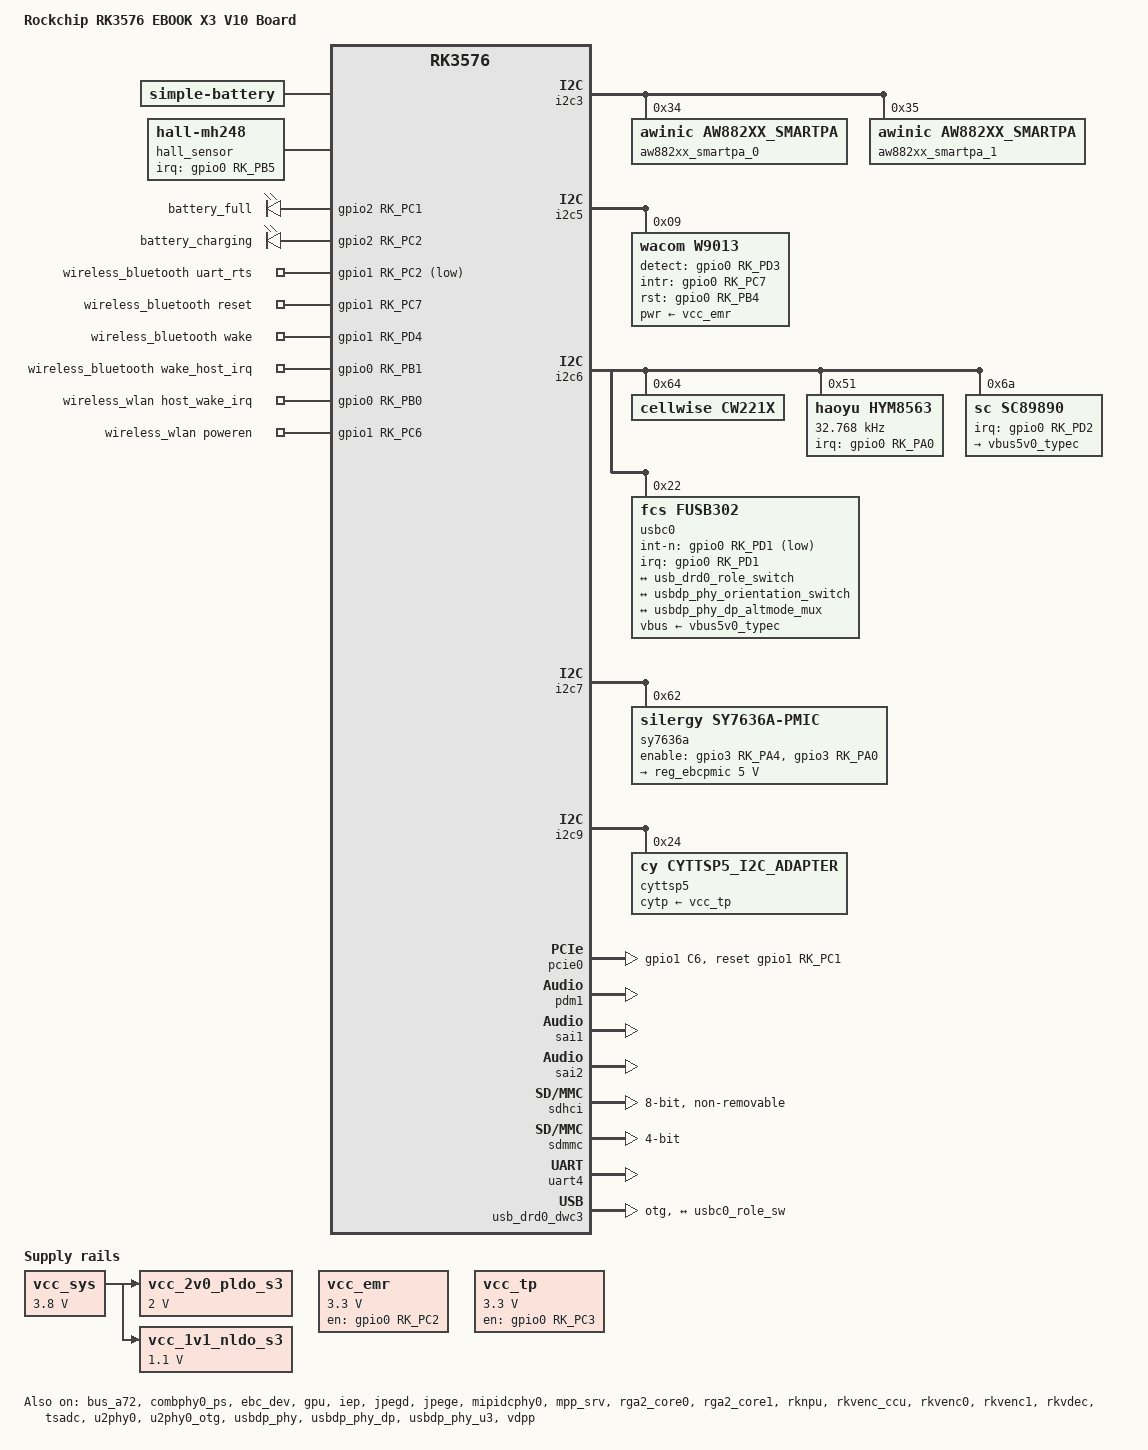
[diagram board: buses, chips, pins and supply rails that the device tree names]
// SPDX-License-Identifier: (GPL-2.0+ OR MIT)
/*
 * Copyright (c) 2024 Rockchip Electronics Co., Ltd.
 *
 */

/dts-v1/;

#include <dt-bindings/display/drm_mipi_dsi.h>
#include <dt-bindings/display/rockchip_vop.h>
#include <dt-bindings/gpio/gpio.h>
#include <dt-bindings/input/rk-input.h>
#include <dt-bindings/pinctrl/rockchip.h>
#include <dt-bindings/pwm/pwm.h>
#include <dt-bindings/sensor-dev.h>
#include <dt-bindings/usb/pd.h>
#include "rk3576.dtsi"
#include "rk3576-android.dtsi"
#include "rk3576-eink.dtsi"

/ {
	model = "Rockchip RK3576 EBOOK X3 V10 Board";
	compatible = "rockchip,rk3576-ebook-x3-v10", "rockchip,rk3576";

	aw882xx_sound: aw882xx-sound {
		status = "okay";
		compatible = "rockchip,multicodecs-card";
		rockchip,card-name = "rockchip,aw882xx";
		rockchip,mclk-fs = <256>;
		rockchip,cpu = <&sai1>;
		rockchip,codec = <&aw882xx_smartpa_0>, <&aw882xx_smartpa_1>;
	};

	bat: battery {
		compatible = "simple-battery";
		//charge-full-design-microamp-hours = <9800000>;
		charge-full-design-microamp-hours = <4200000>;
		precharge-current-microamp = <100000>;
		precharge-upper-limit-microvolt = <3600000>;
		charge-term-current-microamp = <100000>;
		constant-charge-current-max-microamp = <4000000>;/* 4A */
		constant-charge-voltage-max-microvolt = <4350000>;
		factory-internal-resistance-micro-ohms = <30>;
		voltage-max-design-microvolt = <4350000>;
		voltage-min-design-microvolt = <3000000>;
	};

	bt_sco: bt-sco {
		status = "okay";
		compatible = "delta,dfbmcs320";
		#sound-dai-cells = <1>;
	};

	bt_sound: bt-sound {
		status = "okay";
		compatible = "simple-audio-card";
		simple-audio-card,format = "dsp_a";
		simple-audio-card,bitclock-inversion;
		simple-audio-card,mclk-fs = <256>;
		simple-audio-card,name = "rockchip,bt";
		simple-audio-card,cpu {
			sound-dai = <&sai2>;
		};
		simple-audio-card,codec {
			sound-dai = <&bt_sco 1>;
		};
	};

	charge-animation {
		compatible = "rockchip,uboot-charge";
		rockchip,uboot-charge-on = <1>;
		rockchip,android-charge-on = <0>;
		rockchip,uboot-low-power-voltage = <3450>;
		rockchip,screen-on-voltage = <3500>;
		rockchip,uboot-exit-charge-level = <2>;
		rockchip,uboot-exit-charge-voltage = <3500>;
		rockchip,uboot-exit-charge-auto = <1>;
		status = "okay";
	};

	charger-manager {
		compatible = "rockchip-charger-manager";
		cm-name = "battery";
		cm-poll-mode = <2>;
		cm-poll-interval = <5000>;
		cm-cp-support-mult-mode = <1>;
		//cm-chargers = "sgm4154x-charger";
		cm-chargers = "sc89890-charger";
		cm-chargers-phandle = <&usbc0>;
		cm-fuel-gauge = "cw221X-bat";
		monitored-battery = <&bat>;
		extcon = <&u2phy0>;
		cm-jeita-temp-charge-table = <0 15 420000 4350000>,
			<15 45 4000000 4400000>,
			<45 60 1400000 4200000>;
	};

	hall_sensor: hall-mh248 {
		compatible = "hall-mh248";
		pinctrl-names = "default";
		pinctrl-0 = <&mh248_irq_gpio>;
		irq-gpio = <&gpio0 RK_PB5 IRQ_TYPE_EDGE_BOTH>;
		hall-active = <1>;
		status = "okay";

		//for ebook ultra sleep config
		pmu-gpio-regs-base = <0x27320000>; //gpio0 base
		pmu-gpio-regs-size = <0x200>; //gpio0 register size
		pmu-gpio-int-reg = <0x50>; //gpio int status register
		pmu-gpio-rtc-int-mask = <0x01>; //GPIO0_A0, rtc int
		pmu-gpio-pmic-int-mask = <0x40>; //GPIO0_A6, pmic int
	};

	leds: gpio-leds {
		compatible = "gpio-leds";
		pinctrl-names = "default";
		pinctrl-0 =<&leds_gpio>;

		led@1 {
			gpios = <&gpio2 RK_PC1 GPIO_ACTIVE_HIGH>;
			linux,default-trigger = "cw221X-bat-full";
			label = "battery_full";
			retain-state-suspended;
			default-state = "on";
		};

		led@2 {
			gpios = <&gpio2 RK_PC2 GPIO_ACTIVE_HIGH>;
			linux,default-trigger = "cw221X-bat-charging";
			label = "battery_charging";
			retain-state-suspended;
			default-state = "off";
		};
	};

	pdm_codec: dummy-codec {
		status = "okay";
		compatible = "rockchip,dummy-codec";
		#sound-dai-cells = <0>;
	};

	pdm_mic_array: pdm-mic-array {
		status = "okay";
		compatible = "simple-audio-card";
		simple-audio-card,name = "rockchip,pdm-mic-array";
		simple-audio-card,cpu {
			sound-dai = <&pdm1>;
		};
		simple-audio-card,codec {
			sound-dai = <&pdm_codec>;
		};
	};

	vcc_sys: vcc-sys {
		compatible = "regulator-fixed";
		regulator-name = "vcc_sys";
		regulator-always-on;
		regulator-boot-on;
		regulator-min-microvolt = <3800000>;
		regulator-max-microvolt = <3800000>;
	};

	vcc_2v0_pldo_s3: vcc-2v0-pldo-s3 {
		compatible = "regulator-fixed";
		regulator-name = "vcc_2v0_pldo_s3";
		regulator-boot-on;
		regulator-always-on;
		regulator-min-microvolt = <2000000>;
		regulator-max-microvolt = <2000000>;
		vin-supply = <&vcc_sys>;
	};

	vcc_1v1_nldo_s3: vcc-1v1-nldo-s3 {
		compatible = "regulator-fixed";
		regulator-name = "vcc_1v1_nldo_s3";
		regulator-boot-on;
		regulator-always-on;
		regulator-min-microvolt = <1100000>;
		regulator-max-microvolt = <1100000>;
		vin-supply = <&vcc_sys>;
	};

	vcc_emr: vcc-emr {
		compatible = "regulator-fixed";
		enable-active-high;
		gpio = <&gpio0 RK_PC2 GPIO_ACTIVE_HIGH>;
		pinctrl-names = "default";
		pinctrl-0 = <&vcc_emr_en>;
		regulator-name = "vcc_emr";
		regulator-boot-on;
		startup-delay-us = <10000>;
		regulator-min-microvolt = <3300000>;
		regulator-max-microvolt = <3300000>;
	};

	vcc_tp: vcc-tp {
		compatible = "regulator-fixed";
		enable-active-high;
		gpio = <&gpio0 RK_PC3 GPIO_ACTIVE_HIGH>;
		pinctrl-names = "default";
		pinctrl-0 = <&vcc_tp_en>;
		regulator-name = "vcc_tp";
		regulator-boot-on;
		startup-delay-us = <10000>;
		regulator-min-microvolt = <3300000>;
		regulator-max-microvolt = <3300000>;
	};

	wireless_bluetooth: wireless-bluetooth {
		compatible = "bluetooth-platdata";
		bt_port = "/dev/ttyS4";
		clocks = <&hym8563>;
		clock-names = "ext_clock";
		uart_rts_gpios = <&gpio1 RK_PC2 GPIO_ACTIVE_LOW>;
		pinctrl-names = "default", "rts_gpio";
		pinctrl-0 = <&uart4m1_rtsn>;
		pinctrl-1 = <&uart4_gpios>;
		BT,reset_gpio    = <&gpio1 RK_PC7 GPIO_ACTIVE_HIGH>;
		BT,wake_gpio     = <&gpio1 RK_PD4 GPIO_ACTIVE_HIGH>;
		BT,wake_host_irq = <&gpio0 RK_PB1 GPIO_ACTIVE_HIGH>;
		status = "okay";
	};

	wireless_wlan: wireless-wlan {
		compatible = "wlan-platdata";
		wifi_chip_type = "ap6275p";
		pinctrl-names = "default";
		pinctrl-0 = <&wifi_host_wake_irq>;
		WIFI,host_wake_irq = <&gpio0 RK_PB0 GPIO_ACTIVE_HIGH>;
		WIFI,poweren_gpio = <&gpio1 RK_PC6 GPIO_ACTIVE_HIGH>;
		status = "okay";
	};
};

&bus_a72 {
	bus-supply = <&vdd_logic_s0>;
	pvtm-supply = <&vdd_logic_s0>;
	status = "okay";
};

&combphy0_ps {
	status = "okay";
};

&cpu_l0 {
	cpu-supply = <&vdd_cpu_lit_s0>;
};

&cpu_b0 {
	cpu-supply = <&vdd_cpu_big_s0>;
};

&dp {
	status = "disabled";
};

&dp0_in_vp1 {
	status = "disabled";
};

&ebc_dev {
	pmic = <&sy7636a>;
	status = "okay";

	/* ES107KC1 */
	panel,width = <1920>;
	panel,height = <2560>;
	panel,vir_width = <1920>;
	panel,vir_height = <2560>;
	panel,sdck = <60000000>;
	panel,lsl = <18>;
	panel,lbl = <18>;
	panel,ldl = <480>;
	panel,lel = <27>;
	panel,gdck-sta = <1>;
	panel,lgonl = <354>;
	panel,fsl = <1>;
	panel,fbl = <4>;
	panel,fdl = <1280>;
	panel,fel = <15>;
	panel,mirror = <0>;
	panel,panel_16bit = <1>;
	panel,panel_color = <0>;
	panel,width-mm = <162>;
	panel,height-mm = <216>;
	panel,disable_logo = <0>;
	panel,rearrange = <1>;
};

&gpu {
	mali-supply = <&vdd_gpu_s0>;
	status = "okay";
};

&i2c3 {
	status = "okay";
	pinctrl-names = "default";

	aw882xx_smartpa_0: aw882xx@34 {
		compatible = "awinic,aw882xx_smartpa";
		#sound-dai-cells = <0>;
		reg = <0x34>;
		/* reset-gpio = <&pio 89 0x0>; */
		/* irq-gpio = <&pio 37 0x0>; */
		sound-channel = <0>; /*0:pri_l 1:pri_r 2:sec_l 3:sec_r*/
		monitor-mode = "hal_momitor";
		aw-re-min = <4000>;
		aw-re-max= <30000>;
		/*aw-cali-mode = "none";*/
		status = "okay";
	};

	aw882xx_smartpa_1: aw882xx@35 {
		compatible = "awinic,aw882xx_smartpa";
		#sound-dai-cells = <0>;
		reg = <0x35>;
		/* reset-gpio = <&pio 17 0x0>; */
		/* irq-gpio = <&pio 19 0x0>; */
		sound-channel = <1>; /*0:pri_l 1:pri_r 2:sec_l 3:sec_r*/
		monitor-mode = "hal_momitor";
		aw-re-min = <4000>;
		aw-re-max= <30000>;
		/*aw-cali-mode = "none";*/
		status = "okay";
	};
};

&i2c5 {
	status = "okay";
	pinctrl-names = "default";
	pinctrl-0 = <&i2c5m2_xfer>;

	wacom: wacom@9 {
		compatible = "wacom,w9013";
		reg = <0x09>;
		pwr-supply = <&vcc_emr>;
		pinctrl-names = "default";
		pinctrl-0 = <&wacom_gpio>;
		gpio_detect = <&gpio0 RK_PD3 GPIO_ACTIVE_HIGH>;
		gpio_intr = <&gpio0 RK_PC7 GPIO_ACTIVE_HIGH>;
		gpio_rst = <&gpio0 RK_PB4 GPIO_ACTIVE_HIGH>;
		revert_x = <0>;
		revert_y = <0>;
		xy_exchange = <0>;
	};
};

&i2c6 {
	status = "okay";
	pinctrl-names = "default";
	pinctrl-0 = <&i2c6m3_xfer>;

	cw221X@64 {
		compatible = "cellwise,cw221X";
		reg = <0x64>;
		cw,user_rsense = <10000>;
		status = "okay";
	};

	hym8563: hym8563@51 {
		compatible = "haoyu,hym8563";
		reg = <0x51>;
		#clock-cells = <0>;
		clock-frequency = <32768>;
		clock-output-names = "hym8563";
		pinctrl-names = "default";
		pinctrl-0 = <&rtc_int>;

		interrupt-parent = <&gpio0>;
		interrupts = <RK_PA0 IRQ_TYPE_LEVEL_LOW>;
		wakeup-source;
		status = "okay";
	};

	sc89890: sc89890@6a {
		compatible = "sc,sc89890";
		reg = <0x6a>;
		status = "okay";
		pinctrl-names = "default";
		pinctrl-0 = <&charger_ok>;
		interrupt-parent = <&gpio0>;
		interrupts = <RK_PD2 IRQ_TYPE_EDGE_FALLING>; /* IRQ_TYPE_LEVEL_LOW>;*/
		sc,battery-regulation-voltage = <4350000>; /* 4.4V */
		sc,charge-current = <4000000>; /* 4.0A */
		sc,termination-current = <100000>;  /* 100mA */
		sc,precharge-current = <500000>; /* 130mA */
		sc,minimum-sys-voltage = <3400000>; /* 3V */
		sc,boost-voltage = <5000000>; /* 5V */
		sc,boost-max-current = <1600000>; /* 1600mA */

		sc,thermal-regulation-threshold = <4000000>;

		sc,ibatcomp-clamp-microvolt = <100000>;
		sc,ibatcomp-micro-ohms = <20>;
		monitored-battery = <&bat>;
		regulators {
			otg-en-pin = <&gpio2 RK_PD0 GPIO_ACTIVE_HIGH>;
			vbus5v0_typec: vbus5v0-typec {
				regulator-compatible = "otg-vbus";
				regulator-name = "vbus5v0_typec";
			};
		};
	};

	usbc0: fusb302@22 {
		compatible = "fcs,fusb302";
		reg = <0x22>;
		interrupt-parent = <&gpio0>;
		interrupts = <RK_PD1 IRQ_TYPE_LEVEL_LOW>;
		int-n-gpios = <&gpio0 RK_PD1 GPIO_ACTIVE_LOW>;
		pinctrl-names = "default";
		pinctrl-0 = <&usbc0_int>;
		vbus-supply = <&vbus5v0_typec>;
		status = "okay";

		port {
			usbc0_role_sw: endpoint {
				remote-endpoint = <&usb_drd0_role_switch>;
			};
		};

		usb_con: connector {
			compatible = "usb-c-connector";
			label = "USB-C";
			data-role = "dual";
			power-role = "dual";
			try-power-role = "sink";
			op-sink-microwatt = <1000000>;
			sink-pdos =
				<PDO_FIXED(5000, 3000, PDO_FIXED_USB_COMM)
				 PDO_FIXED(9000, 3000, PDO_FIXED_USB_COMM)
				/* PDO_FIXED(12000, 3000, PDO_FIXED_USB_COMM) */>;
			source-pdos =
				<PDO_FIXED(5000, 3000, PDO_FIXED_USB_COMM)>;

			altmodes {
				#address-cells = <1>;
				#size-cells = <0>;

				altmode@0 {
					reg = <0>;
					svid = <0xff01>;
					vdo = <0xffffffff>;
				};
			};

			ports {
				#address-cells = <1>;
				#size-cells = <0>;

				port@0 {
					reg = <0>;
					usbc0_orien_sw: endpoint {
						remote-endpoint = <&usbdp_phy_orientation_switch>;
					};
				};

				port@1 {
					reg = <1>;
					dp_altmode_mux: endpoint {
						remote-endpoint = <&usbdp_phy_dp_altmode_mux>;
					};
				};
			};

		};
	};
};

&i2c7 {
	status = "okay";
	pinctrl-names = "default";
	pinctrl-0 = <&i2c7m2_xfer>;

	sy7636a: sy7636a@62 {
		compatible = "silergy,sy7636a-pmic";
		reg = <0x62>;
		status = "okay";

		pinctrl-names = "default";
		pinctrl-0 = <&sy7636a_default>;

		enable-gpios = <&gpio3 RK_PA4 GPIO_ACTIVE_HIGH>, <&gpio3 RK_PA0 GPIO_ACTIVE_HIGH>;

		thermal-zone = "ebcpmic-thermal";
		#thermal-sensor-cells = <0>;

		regulators {
			compatible = "sy7636a-regulator";
			reg_ebcpmic: vcom {
				regulator-name = "vcom";
				regulator-min-microvolt = <0>;
				regulator-max-microvolt = <5000000>;
				regulator-boot-on;
				regulator-state-mem {
					regulator-off-in-suspend;
				};
			};
		};

		sy7636a_thermal: sy7636a_thermal {
			compatible = "sy7636a-thermal";
		};
	};
};

&i2c9 {
	status = "okay";
	pinctrl-names = "default";
	pinctrl-0 = <&i2c9m2_xfer>;

	cyttsp5@24 {
		status = "okay";
		compatible = "cy,cyttsp5_i2c_adapter";
		reg = <0x24>;
		cy,adapter_id = "cyttsp5_i2c_adapter";
		pinctrl-names = "default";
		pinctrl-0 = <&cyttsp5_gpio>;
		cytp-supply = <&vcc_tp>;
		cy,core {
			cy,name = "cyttsp5_core";
			cy,irq_gpio =  <&gpio0 RK_PC5 GPIO_ACTIVE_HIGH>;
			cy,rst_gpio =  <&gpio0 RK_PD0 GPIO_ACTIVE_HIGH>;
			cy,hid_desc_register = <1>;
			/* CY_CORE_FLAG_RESTORE_PARAMETERS */
			cy,flags = <6>;
			/* CY_CORE_EWG_NONE */
			cy,easy_wakeup_gesture = <0>;
			cy,btn_keys = <172 /* KEY_HOMEPAGE */
						/* previously was KEY_HOME, new Android versions use KEY_HOMEPAGE */
						139 /* KEY_MENU */
						158 /* KEY_BACK */
						217 /* KEY_SEARCH */
						114 /* KEY_VOLUMEDOWN */
						115 /* KEY_VOLUMEUP */
						212 /* KEY_CAMERA */
						116>; /* KEY_POWER */
			cy,btn_keys-tag = <0>;
			cy,mt {
				cy,name = "cyttsp5_mt";
				cy,inp_dev_name = "cyttsp5_mt";
				cy,flags = <0xA8>;
				cy,abs =
					/* ABS_MT_POSITION_X, CY_ABS_MIN_X, CY_ABS_MAX_X, 0, 0 */
					<0x35 0 1920 0 0
					/* ABS_MT_POSITION_Y, CY_ABS_MIN_Y, CY_ABS_MAX_Y, 0, 0 */
					0x36 0 2700 0 0
					/* ABS_MT_PRESSURE, CY_ABS_MIN_P, CY_ABS_MAX_P, 0, 0 */
					0x3a 0 255 0 0
					/* CY_IGNORE_VALUE, CY_ABS_MIN_W, CY_ABS_MAX_W, 0, 0 */
					0xffff 0 255 0 0
					/* ABS_MT_TRACKING_ID, CY_ABS_MIN_T, CY_ABS_MAX_T, 0, 0 */
					0x39 0 15 0 0
					/* ABS_MT_TOUCH_MAJOR, 0, 255, 0, 0 */
					0x30 0 255 0 0
					/* ABS_MT_TOUCH_MINOR, 0, 255, 0, 0 */
					0x31 0 255 0 0
					/* ABS_MT_ORIENTATION, -127, 127, 0, 0 */
					0x34 0xffffff81 127 0 0
					/* ABS_MT_TOOL_TYPE, 0, MT_TOOL_MAX, 0, 0 */
					0x37 0 1 0 0
					/* ABS_DISTANCE, 0, 255, 0, 0 */
					0x19 0 255 0 0>;

					cy,vkeys_x = <1920>;
					cy,vkeys_y = <2700>;
					cy,max_x = <1920>;
					cy,max_y = <2560>;
					cy,revert_x = <0>;
					cy,revert_y = <1>;
					cy,xy_exchange = <0>;

					cy,virtual_keys =
						/* KeyCode CenterX CenterY Width Height */
						/* KEY_BACK */
						<158 1360 90 160 180
						/* KEY_MENU */
						139 1360 270 160 180
						/* KEY_HOMEPAGE */
						172 1360 450 160 180
						/* KEY SEARCH */
						217 1360 630 160 180>;
			};

			cy,btn {
				cy,name = "cyttsp5_btn";
				cy,inp_dev_name = "cyttsp5_btn";
			};

			cy,proximity {
				cy,name = "cyttsp5_proximity";
				cy,inp_dev_name = "cyttsp5_proximity";
				cy,abs =
				/* ABS_DISTANCE, CY_PROXIMITY_MIN_VAL, CY_PROXIMITY_MAX_VAL, 0, 0 */
					<0x19 0 1 0 0>;
			};
		};
	};
};

&iep {
	status = "okay";
};

&iep_mmu {
	status = "okay";
};

&jpegd {
	status = "okay";
};

&jpege {
	status = "okay";
};

&jpeg_mmu {
	status = "okay";
};

&mipidcphy0 {
	status = "okay";
};

&mpp_srv {
	status = "okay";
};

&pcie0 {
	reset-gpios = <&gpio1 RK_PC1 GPIO_ACTIVE_HIGH>;
	rockchip,skip-scan-in-resume;
	rockchip,s2r-perst-inactive-ms = <1>;
	pinctrl-names = "default";
	pinctrl-0 = <&wifi_poweren_gpio>;
	status = "okay";
};

&pdm1 {
	status = "okay";
	pinctrl-names = "default", "idle", "clk";
	pinctrl-0 = <&pdm1m1_sdi0
		     &pdm1m1_sdi1
		     &pdm1m1_sdi2
		     &pdm1m1_sdi3>;
	pinctrl-1 = <&pdm1m1_clk0_idle
		     &pdm1m1_clk1_idle>;
	pinctrl-2 = <&pdm1m1_clk0
		     &pdm1m1_clk1>;
};

&pinctrl {
	charger {
		charger_ok: charger_ok {
			rockchip,pins =
					<0 RK_PD2 RK_FUNC_GPIO &pcfg_pull_up>,
					<2 RK_PD0 RK_FUNC_GPIO &pcfg_pull_up>;
		};
	};

	hall {
		mh248_irq_gpio: mh248-irq-gpio {
			rockchip,pins = <0 RK_PB5 RK_FUNC_GPIO &pcfg_pull_up>;
		};
	};

	led {
		leds_gpio: leds-gpio {
			rockchip,pins =
					<2 RK_PC1 RK_FUNC_GPIO &pcfg_pull_up>,
					<2 RK_PC2 RK_FUNC_GPIO &pcfg_pull_up>;
		};
	};

	rtc {
		rtc_int: rtc-int {
			rockchip,pins = <0 RK_PA0 RK_FUNC_GPIO &pcfg_pull_up>;
		};
	};

	sy7636a {
		sy7636a_default: sy7636a_default {
			rockchip,pins =
					/* EBC_PMIC_ON */
					<3 RK_PA4 RK_FUNC_GPIO &pcfg_pull_none>,
					/* PMIC_PWR_ON */
					<3 RK_PA0 RK_FUNC_GPIO &pcfg_pull_none>;
		};
	};

	touch {
		cyttsp5_gpio: cyttsp5-gpio {
			rockchip,pins =
					<0 RK_PC5 RK_FUNC_GPIO &pcfg_pull_up>,
					<0 RK_PD0 RK_FUNC_GPIO &pcfg_pull_up>;
		};

		vcc_tp_en: vcc-tp-en {
			rockchip,pins = <0 RK_PC3 RK_FUNC_GPIO &pcfg_pull_none>;
		};
	};

	touch-pen {
		wacom_gpio: wacom-gpio {
			rockchip,pins =
					<0 RK_PB4 RK_FUNC_GPIO &pcfg_pull_none>,
					<0 RK_PC7 RK_FUNC_GPIO &pcfg_pull_up>,
					<0 RK_PD3 RK_FUNC_GPIO &pcfg_pull_up>;
		};

		vcc_emr_en: vcc-emr-en {
			rockchip,pins = <0 RK_PC2 RK_FUNC_GPIO &pcfg_pull_none>;
		};
	};

	usb {
		usbc0_int: usbc0-int {
			rockchip,pins = <0 RK_PD1 RK_FUNC_GPIO &pcfg_pull_up>;
		};
	};

	wireless-bluetooth {
		uart4_gpios: uart4-gpios {
			rockchip,pins = <1 RK_PC2 RK_FUNC_GPIO &pcfg_pull_none>;
		};
	};

	wireless-wlan {
		wifi_host_wake_irq: wifi-host-wake-irq {
			rockchip,pins = <0 RK_PB0 RK_FUNC_GPIO &pcfg_pull_down>;
		};

		wifi_poweren_gpio: wifi-poweren-gpio {
			rockchip,pins = <1 RK_PC6 RK_FUNC_GPIO &pcfg_pull_up>;
		};
	};
};

&rga2_core0 {
	status = "okay";
};

&rga2_core0_mmu {
	status = "okay";
};

&rga2_core1 {
	status = "okay";
};

&rga2_core1_mmu {
	status = "okay";
};

&rknpu {
	rknpu-supply = <&vdd_npu_s0>;
	status = "okay";
};

&rknpu_mmu {
	status = "okay";
};

&rkvenc_ccu {
	status = "okay";
};

&rkvenc0 {
	status = "okay";
};

&rkvenc0_mmu {
	status = "okay";
};

&rkvenc1 {
	status = "okay";
};

&rkvenc1_mmu {
	status = "okay";

};

&rkvdec {
	status = "okay";
};

&rkvdec_mmu {
	status = "okay";
};

&sai1 {
	status = "okay";
	pinctrl-names = "default";
	pinctrl-0 = <&sai1m0_lrck
		     &sai1m0_sclk
		     &sai1m0_sdo0>;
};

&sai2 {
	status = "okay";
};

&sdhci {
	bus-width = <8>;
	no-sdio;
	no-sd;
	non-removable;
	max-frequency = <200000000>;
	mmc-hs400-1_8v;
	mmc-hs400-enhanced-strobe;
	full-pwr-cycle-in-suspend;
	status = "okay";
};

&sdmmc {
	max-frequency = <150000000>;
	no-sdio;
	no-mmc;
	bus-width = <4>;
	cap-mmc-highspeed;
	cap-sd-highspeed;
	disable-wp;
	sd-uhs-sdr104;
	vqmmc-supply = <&vccio_sd_s0>;
	status = "okay";
};

&thermal_zones {
	ebcpmic_thermal: ebcpmic-thermal {
		polling-delay = <0>;
		polling-delay-passive = <0>;
		thermal-sensors = <&sy7636a>;

		trips {
			sy7636a_dummy_trip: sy7636a-dummy-trip {
				temperature = <100000>;
				hysteresis = <0>;
				type = "hot";
			};
		};
	};
};

&tsadc {
	status = "okay";
};

&uart4 {
	status = "okay";
	pinctrl-names = "default";
	pinctrl-0 = <&uart4m1_xfer &uart4m1_ctsn>;
};

&u2phy0 {
	status = "okay";
};

&u2phy0_otg {
	status = "okay";
	rockchip,typec-vbus-det;
};

&u2phy1 {
	status = "disabled";
};

&u2phy1_otg {
	status = "disabled";
};

&usbdp_phy {
	status = "okay";
	orientation-switch;
	svid = <0xff01>;
	sbu1-dc-gpios = <&gpio4 RK_PC4 GPIO_ACTIVE_HIGH>;
	sbu2-dc-gpios = <&gpio4 RK_PC5 GPIO_ACTIVE_HIGH>;

	port {
		#address-cells = <1>;
		#size-cells = <0>;

		usbdp_phy_orientation_switch: endpoint@0 {
			reg = <0>;
			remote-endpoint = <&usbc0_orien_sw>;
		};

		usbdp_phy_dp_altmode_mux: endpoint@1 {
			reg = <1>;
			remote-endpoint = <&dp_altmode_mux>;
		};
	};
};

&usbdp_phy_dp {
	status = "okay";
};

&usbdp_phy_u3 {
	status = "okay";
};

&usb_drd0_dwc3 {
	status = "okay";
	dr_mode = "otg";
	usb-role-switch;
	port {
		usb_drd0_role_switch: endpoint {
			remote-endpoint = <&usbc0_role_sw>;
		};
	};
};

&usb_drd1_dwc3 {
	status = "disabled";
};

&vdpp {
	status = "okay";
};
